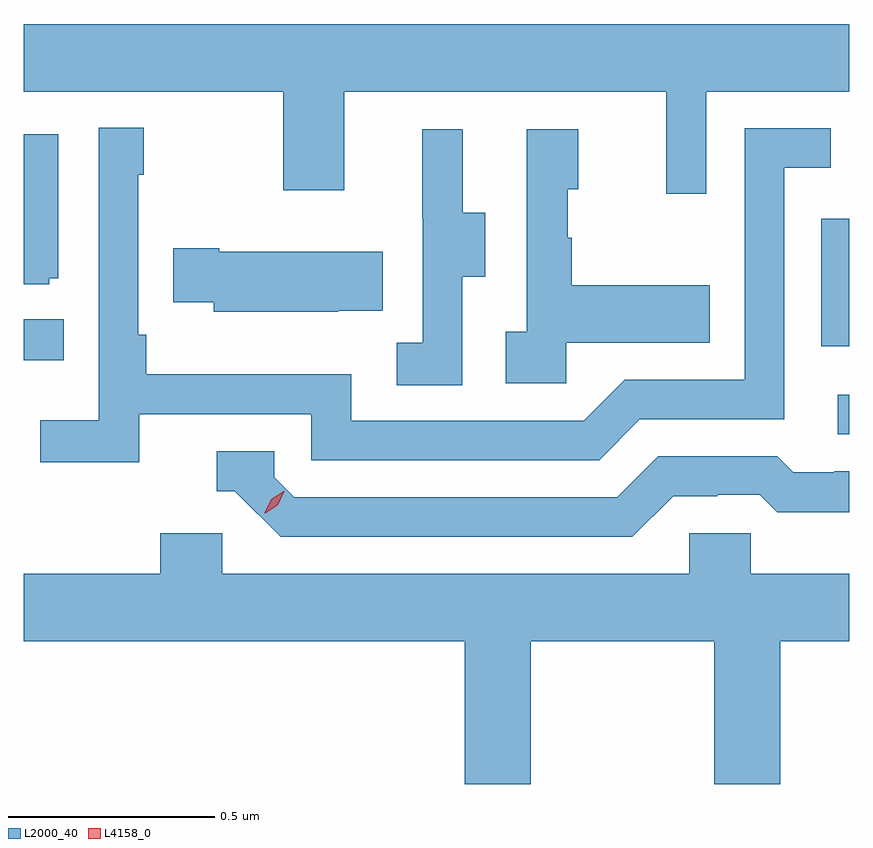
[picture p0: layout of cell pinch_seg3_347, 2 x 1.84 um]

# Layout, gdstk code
import gdstk
lib = gdstk.Library(unit=1e-6, precision=1e-09)
def R(c, l, rs):  # rectangles x0, y0, x1, y1
    for r in rs: c.add(gdstk.rectangle(r[:2], r[2:], *l))
def P(c, l, *ps):  # polygons
    for p in ps: c.add(gdstk.Polygon(p, *l))
L2000_40 = (2000, 40)
L4158_0 = (4158, 0)

pinch_seg3_347 = lib.new_cell('pinch_seg3_347')
R(pinch_seg3_347, L2000_40, [(959.487,725.394,959.515,725.49), (957.515,725.573,957.611,725.672), (959.448,725.607,959.515,725.916)])
P(pinch_seg3_347, L2000_40, [(959.169,726.224),(959.515,726.224),(959.515,726.388),(957.515,726.388),(957.515,726.224),(958.144,726.224),(958.144,725.985),(958.291,725.985),(958.291,726.224),(959.072,726.224),(959.072,725.976),(959.169,725.976)],
  [(957.794,725.442),(958.212,725.442),(958.212,725.331),(958.909,725.331),(959.008,725.43),(959.358,725.43),(959.358,726.039),(959.471,726.039),(959.471,726.135),(959.262,726.135),(959.262,725.526),(958.971,725.526),(958.872,725.427),(958.308,725.427),(958.308,725.539),(957.812,725.539),(957.812,725.635),(957.792,725.635),(957.792,726.023),(957.805,726.023),(957.805,726.136),(957.696,726.136),(957.696,725.428),(957.555,725.428),(957.555,725.326),(957.794,725.326)],
  [(958.578,725.776),(958.633,725.776),(958.633,725.931),(958.579,725.931),(958.579,726.133),(958.481,726.133),(958.481,725.919),(958.482,725.919),(958.482,725.615),(958.419,725.615),(958.419,725.512),(958.578,725.512)],
  [(958.83,725.615),(959.177,725.615),(959.177,725.755),(958.843,725.755),(958.843,725.87),(958.833,725.87),(958.833,725.988),(958.858,725.988),(958.858,726.133),(958.734,726.133),(958.734,725.642),(958.683,725.642),(958.683,725.517),(958.83,725.517)],
  [(957.576,725.772),(957.598,725.772),(957.598,726.121),(957.515,726.121),(957.515,725.757),(957.576,725.757)],
  [(958.277,725.693),(958.385,725.693),(958.385,725.836),(957.988,725.836),(957.988,725.844),(957.877,725.844),(957.877,725.714),(957.975,725.714),(957.975,725.69),(958.277,725.69)],
  [(959.089,725.244),(959.196,725.244),(959.196,725.247),(959.299,725.247),(959.341,725.205),(959.515,725.205),(959.515,725.304),(959.479,725.304),(959.479,725.301),(959.38,725.301),(959.341,725.34),(959.052,725.34),(958.953,725.241),(958.17,725.241),(958.122,725.289),(958.122,725.352),(957.983,725.352),(957.983,725.256),(958.026,725.256),(958.137,725.145),(958.99,725.145)],
  [(958.743,724.892),(959.188,724.892),(959.188,724.546),(959.348,724.546),(959.348,724.892),(959.515,724.892),(959.515,725.056),(959.277,725.056),(959.277,725.154),(959.127,725.154),(959.127,725.056),(957.996,725.056),(957.996,725.154),(957.845,725.154),(957.845,725.056),(957.515,725.056),(957.515,724.892),(958.583,724.892),(958.583,724.546),(958.743,724.546)])
P(pinch_seg3_347, L4158_0, [(958.099,725.202),(958.099,725.203),(958.115,725.236),(958.145,725.256),(958.146,725.256),(958.146,725.255),(958.13,725.222),(958.1,725.202)])

lib.write_gds('pinch_seg3_347.gds')
